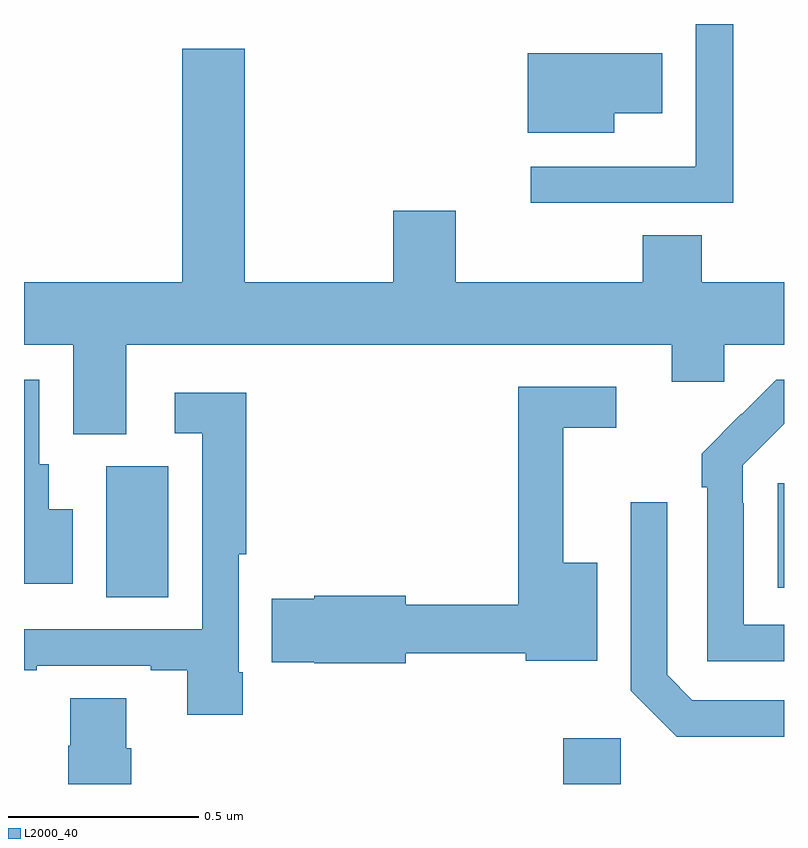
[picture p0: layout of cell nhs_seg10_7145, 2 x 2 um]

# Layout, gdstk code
import gdstk
lib = gdstk.Library(unit=1e-6, precision=1e-09)
def R(c, l, rs):  # rectangles x0, y0, x1, y1
    for r in rs: c.add(gdstk.rectangle(r[:2], r[2:], *l))
def P(c, l, *ps):  # polygons
    for p in ps: c.add(gdstk.Polygon(p, *l))
L2000_40 = (2000, 40)

nhs_seg10_7145 = lib.new_cell('nhs_seg10_7145')
R(nhs_seg10_7145, L2000_40, [(201.419,1292.5,201.57,1292.62), (200.216,1292.992,200.38,1293.336), (201.983,1293.017,202,1293.292)])
P(nhs_seg10_7145, L2000_40, [(201.867,1294.5),(201.768,1294.5),(201.768,1294.126),(201.767,1294.126),(201.767,1294.125),(201.333,1294.125),(201.333,1294.029),(201.867,1294.029)],
  [(200.269,1293.656),(201.704,1293.656),(201.704,1293.558),(201.843,1293.558),(201.843,1293.656),(202,1293.656),(202,1293.82),(201.783,1293.82),(201.783,1293.944),(201.628,1293.944),(201.628,1293.82),(201.136,1293.82),(201.136,1294.009),(200.972,1294.009),(200.972,1293.82),(200.581,1293.82),(200.581,1294.435),(200.417,1294.435),(200.417,1293.82),(200,1293.82),(200,1293.656),(200.129,1293.656),(200.129,1293.421),(200.269,1293.421)],
  [(201.553,1294.265),(201.679,1294.265),(201.679,1294.423),(201.326,1294.423),(201.326,1294.214),(201.553,1294.214)],
  [(202,1292.919),(201.894,1292.919),(201.894,1293.239),(201.891,1293.239),(201.891,1293.339),(202,1293.448),(202,1293.564),(201.98,1293.564),(201.889,1293.473),(201.888,1293.474),(201.783,1293.369),(201.783,1293.281),(201.798,1293.281),(201.798,1292.823),(202,1292.823)],
  [(200.128,1293.223),(200.065,1293.223),(200.065,1293.342),(200.04,1293.342),(200.04,1293.564),(200,1293.564),(200,1293.027),(200.128,1293.027)],
  [(201.004,1292.844),(201.32,1292.844),(201.32,1292.825),(201.508,1292.825),(201.508,1293.082),(201.419,1293.082),(201.419,1293.438),(201.559,1293.438),(201.559,1293.546),(201.301,1293.546),(201.301,1292.972),(201.004,1292.972),(201.004,1292.996),(200.764,1292.996),(200.764,1292.987),(200.652,1292.987),(200.652,1292.82),(200.764,1292.82),(200.764,1292.818),(201.004,1292.818)],
  [(200.575,1292.794),(200.565,1292.794),(200.565,1293.105),(200.585,1293.105),(200.585,1293.529),(200.397,1293.529),(200.397,1293.423),(200.469,1293.423),(200.469,1292.907),(200,1292.907),(200,1292.799),(200.033,1292.799),(200.033,1292.811),(200.333,1292.811),(200.333,1292.799),(200.429,1292.799),(200.429,1292.682),(200.575,1292.682)],
  [(202,1292.721),(201.759,1292.721),(201.693,1292.787),(201.693,1293.241),(201.597,1293.241),(201.597,1292.745),(201.718,1292.624),(202,1292.624)],
  [(200.282,1292.594),(200.269,1292.594),(200.269,1292.726),(200.122,1292.726),(200.122,1292.601),(200.117,1292.601),(200.117,1292.5),(200.282,1292.5)])

lib.write_gds('nhs_seg10_7145.gds')
